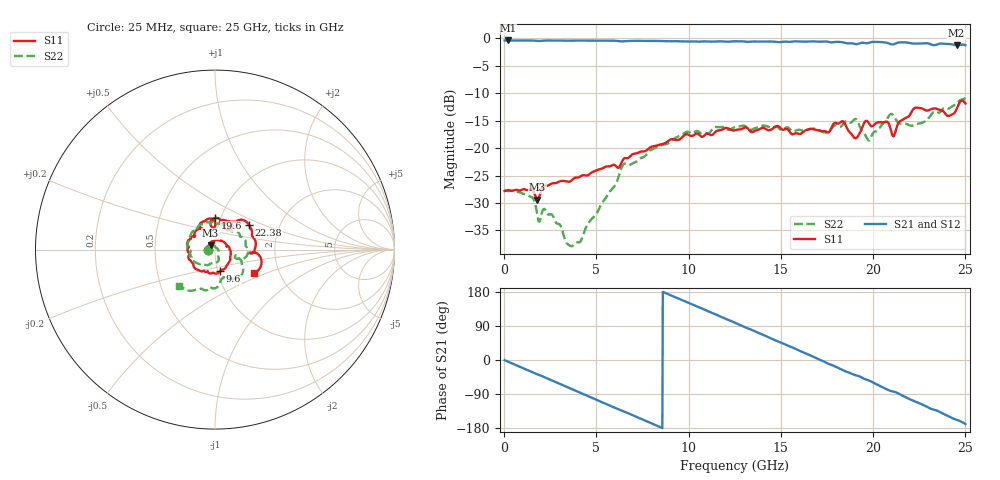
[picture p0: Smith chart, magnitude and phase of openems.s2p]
! RG_ts6_sw_pwr: Finite board 24 × 16 mm, ThunderScope stack, via F → In3 (stub to B) through In1 GND / In2 PWR / In4 GND, four GND vias at 1 mm joined to In1 and In4 (openings in In2)
! stackup: ThunderScope Rev5.3 6-layer with the In2 plane
! ports: 1 F, 2 In3
! openEMS 0.37.0, staircase, fine mesh (dfine 0.035 mm), 1648128 cells
# Hz S RI R 50
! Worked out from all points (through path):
!   1000 points, 25 MHz to 25 GHz, reference 50 ohm
!   highest |S21| = -0.36 dB at 200 MHz (marker M1); lowest = -1.3 dB at 24.52 GHz (marker M2)
!   group delay of S21, straight-line fit = 58.6 ps
!   lowest |S11| = -29.4 dB at 1.8 GHz (marker M3), VSWR 1.07, Z = 47.6 + j2.23 ohm
!   |S11| at or under -10 dB: start of sweep to end of sweep
!   |S22| runs from -37.9 to -10.8 dB; largest |S21 - S12| = 0.0057
!   S11 on the Smith chart (normalised r, x): 25 MHz: 0.92, +0.00; 9.6 GHz: 1.03, -0.25; 19.6 GHz: 0.94, +0.34; 22.38 GHz: 1.39, +0.41; 25 GHz: 1.49, -0.42
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2.5e7  -0.0407 0.000317  0.9585 -0.00862  0.9587 -0.00873  -0.0413 0.000512
2e8  -0.0412 0.0035  0.9568 -0.0702  0.9565 -0.0702  -0.0405 0.00317
1.475e9  -0.0325 0.0273  0.821 -0.4949  0.8207 -0.4948  -0.0282 0.0221
1.8e9  -0.0244 0.0234  0.7497 -0.581  0.7495 -0.5812  -0.0147 0.0195
2.6e9  -0.0221 0.0423  0.5591 -0.7785  0.559 -0.7787  -0.0122 0.0214
3.525e9  0.000152 0.0494  0.2685 -0.9173  0.2684 -0.9172  0.00358 0.0125
4.2e9  0.0183 0.0531  0.0346 -0.9565  0.0346 -0.9568  0.0144 0.00328
6.45e9  0.0774 0.0155  -0.665 -0.6684  -0.6653 -0.6683  0.0119 -0.0695
8.35e9  0.0743 -0.0762  -0.9454 -0.0851  -0.9455 -0.0847  -0.0593 -0.0842
9.6e9  0.0281 -0.1203  -0.8775 0.3379  -0.8772 0.3383  -0.1128 -0.0696
1.1025e10  -0.0555 -0.1234  -0.5939 0.727  -0.5932 0.7269  -0.1359 -0.00645
1.2525e10  -0.1243 -0.0765  -0.1316 0.9344  -0.1316 0.9336  -0.1407 0.0684
1.4375e10  -0.145 0.0142  0.4839 0.805  0.4832 0.8048  -0.0635 0.1418
1.6675e10  -0.1037 0.1081  0.9269 0.1668  0.9265 0.1681  0.0625 0.1364
1.8325e10  -0.0355 0.1723  0.8308 -0.4072  0.8321 -0.4063  0.1446 0.0713
1.9025e10  -0.00672 0.1228  0.6814 -0.5707  0.6833 -0.5707  0.1842 -0.0113
1.96e10  0.00105 0.1769  0.5677 -0.7054  0.5695 -0.7062  0.1186 -0.0508
2.085e10  0.0963 0.136  0.1586 -0.8882  0.1593 -0.8901  0.1563 -0.1198
2.1125e10  0.0591 0.1146  0.1021 -0.8797  0.1025 -0.8828  0.1075 -0.1629
2.2375e10  0.1879 0.1397  -0.3263 -0.8366  -0.3293 -0.8394  0.0419 -0.1606
2.4525e10  0.2264 -0.0176  -0.8002 -0.3283  -0.8045 -0.3252  -0.1175 -0.2272
2.5e10  0.2189 -0.1312  -0.851 -0.1655  -0.8525 -0.1602  -0.203 -0.2026
